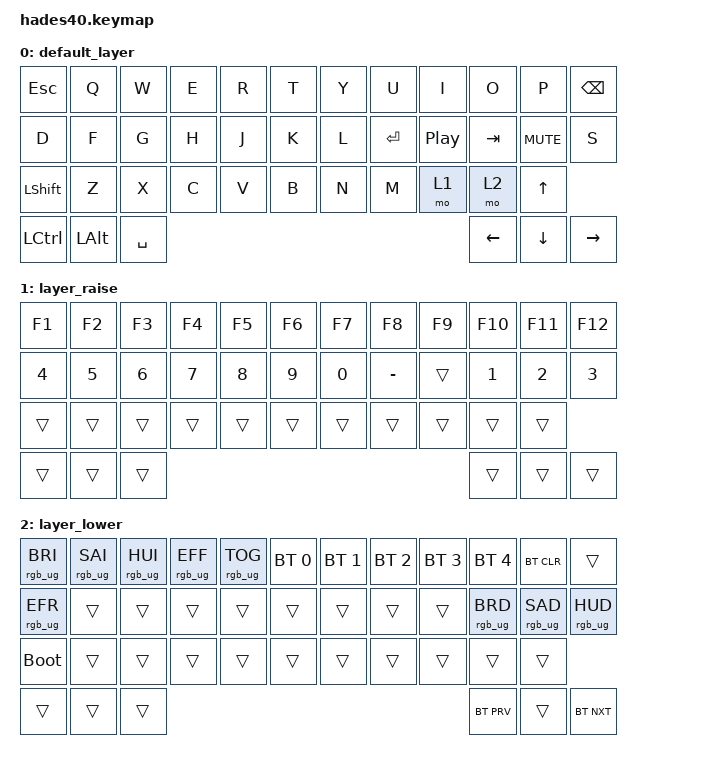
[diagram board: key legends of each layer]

/*
 * Copyright (c) 2020 The ZMK Contributors
 *
 * SPDX-License-Identifier: MIT
 */


/* THIS FILE WAS GENERATED!
 *
 * This file was generated automatically. You may or may not want to
 * edit it directly.
 */

#include <behaviors.dtsi>
#include <dt-bindings/zmk/keys.h>
#include <dt-bindings/zmk/rgb.h>
#include <dt-bindings/zmk/bt.h>

/ {
    keymap {
        compatible = "zmk,keymap";


        default_layer {
            bindings = <
   &kp ESC     &kp Q   &kp W   &kp E   &kp R      &kp T            &kp Y   &kp U     &kp I     &kp O     &kp P    &kp BSPC
               &kp D   &kp F   &kp G   &kp H      &kp J            &kp K   &kp L   &kp RET  &kp C_PP   &kp TAB  &kp K_MUTE   &kp S
 &kp LSHFT     &kp Z   &kp X   &kp C   &kp V      &kp B            &kp N   &kp M     &mo 1     &mo 2    &kp UP
 &kp LCTRL  &kp LALT                          &kp SPACE                           &kp LEFT            &kp DOWN   &kp RIGHT
            >;
        };

        layer_raise {
            bindings = <
 &kp F1  &kp F2  &kp F3  &kp F4  &kp F5  &kp F6            &kp F7  &kp F8     &kp F9  &kp F10  &kp F11  &kp F12
         &kp N4  &kp N5  &kp N6  &kp N7  &kp N8            &kp N9  &kp N0  &kp MINUS   &trans   &kp N1   &kp N2  &kp N3
 &trans  &trans  &trans  &trans  &trans  &trans            &trans  &trans     &trans   &trans   &trans
 &trans  &trans                          &trans                               &trans            &trans   &trans
            >;
        };

        layer_lower {
            bindings = <
 &rgb_ug RGB_BRI  &rgb_ug RGB_SAI  &rgb_ug RGB_HUI  &rgb_ug RGB_EFF  &rgb_ug RGB_TOG  &bt BT_SEL 0            &bt BT_SEL 1  &bt BT_SEL 2  &bt BT_SEL 3  &bt BT_SEL 4       &bt BT_CLR           &trans
                  &rgb_ug RGB_EFR           &trans           &trans           &trans        &trans                  &trans        &trans        &trans        &trans  &rgb_ug RGB_BRD  &rgb_ug RGB_SAD  &rgb_ug RGB_HUD
     &bootloader           &trans           &trans           &trans           &trans        &trans                  &trans        &trans        &trans        &trans           &trans
          &trans           &trans                                                           &trans                                          &bt BT_PRV                         &trans       &bt BT_NXT
            >;
        };

    };
};
